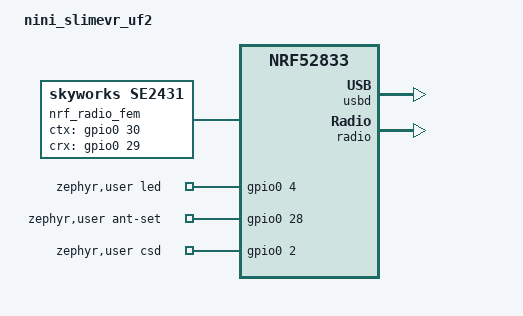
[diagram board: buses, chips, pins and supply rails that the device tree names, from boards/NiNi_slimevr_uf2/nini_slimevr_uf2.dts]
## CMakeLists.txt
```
#
# Copyright (c) 2018 Nordic Semiconductor
#
# SPDX-License-Identifier: LicenseRef-Nordic-5-Clause
#
cmake_minimum_required(VERSION 3.20.0)

# Configure build metadata from git (best-effort)
find_package(Git)

if(GIT_EXECUTABLE)
  execute_process(
    COMMAND ${GIT_EXECUTABLE} branch --show-current
    WORKING_DIRECTORY ${CMAKE_SOURCE_DIR}
    OUTPUT_VARIABLE GIT_BRANCH
    )
  # Prefer a https URL for display (falls back to 'unknown')
  execute_process(
    COMMAND ${GIT_EXECUTABLE} config --get remote.origin.url
    WORKING_DIRECTORY ${CMAKE_SOURCE_DIR}
    OUTPUT_VARIABLE GIT_REPO_URL_SSH
    )
  execute_process(
    COMMAND ${GIT_EXECUTABLE} config --get remote.origin.https.url
    WORKING_DIRECTORY ${CMAKE_SOURCE_DIR}
    OUTPUT_VARIABLE GIT_REPO_URL_HTTPS
    )
  execute_process(
    COMMAND ${GIT_EXECUTABLE} log -1 --pretty=%an
    WORKING_DIRECTORY ${CMAKE_SOURCE_DIR}
    OUTPUT_VARIABLE GIT_AUTHOR
    )
endif()

if(GIT_BRANCH STREQUAL "")
  set(GIT_BRANCH unknown)
  message(WARNING "Unknown Git Branch")
endif()
# Choose URL: origin.https.url > origin.url
if(NOT GIT_REPO_URL_HTTPS STREQUAL "")
  set(GIT_REPO_URL ${GIT_REPO_URL_HTTPS})
else()
  set(GIT_REPO_URL ${GIT_REPO_URL_SSH})
endif()

# Normalize GitHub SSH URLs to HTTPS for display in firmware info
if(GIT_REPO_URL MATCHES "^git@github\\.com:(.+)$")
  set(GIT_REPO_URL "https://github.com/${CMAKE_MATCH_1}")
elseif(GIT_REPO_URL MATCHES "^ssh://git@github\\.com/(.+)$")
  set(GIT_REPO_URL "https://github.com/${CMAKE_MATCH_1}")
endif()
string(REGEX REPLACE "\\.git$" "" GIT_REPO_URL "${GIT_REPO_URL}")

if(GIT_REPO_URL STREQUAL "")
  set(GIT_REPO_URL unknown)
  message(WARNING "Unknown Git Repo URL")
endif()
if(GIT_AUTHOR STREQUAL "")
  set(GIT_AUTHOR unknown)
  message(WARNING "Unknown Git Author")
endif()

string(STRIP ${GIT_BRANCH} GIT_BRANCH)
string(STRIP ${GIT_REPO_URL} GIT_REPO_URL)
string(STRIP ${GIT_AUTHOR} GIT_AUTHOR)

# Pass metadata to C compilation units
add_compile_definitions(
  FW_GIT_BRANCH="${GIT_BRANCH}"
  FW_GIT_REPO_URL="${GIT_REPO_URL}"
  FW_GIT_AUTHOR="${GIT_AUTHOR}"
)

set(SLIMEVR_RECEIVER_HID_OVERLAY ${CMAKE_CURRENT_SOURCE_DIR}/boards/receiver_hid.overlay)

if(DEFINED EXTRA_DTC_OVERLAY_FILE)
  set(EXTRA_DTC_OVERLAY_FILE ${SLIMEVR_RECEIVER_HID_OVERLAY} ${EXTRA_DTC_OVERLAY_FILE})
else()
  set(EXTRA_DTC_OVERLAY_FILE ${SLIMEVR_RECEIVER_HID_OVERLAY})
endif()

find_package(Zephyr REQUIRED HINTS $ENV{ZEPHYR_BASE})
project(NONE)

FILE(GLOB_RECURSE app_sources src/*.c)
# Data collection: choose HID or CDC implementation, or exclude both
if(CONFIG_DATA_COLLECT)
  if(CONFIG_DATA_COLLECT_HID)
    # HID mode: exclude CDC implementation
    list(FILTER app_sources EXCLUDE REGEX ".*data_collect\\.c$")
  else()
    # CDC mode: exclude HID implementation
    list(FILTER app_sources EXCLUDE REGEX ".*data_collect_hid\\.c$")
  endif()
else()
  # No data collection: exclude both
  list(FILTER app_sources EXCLUDE REGEX ".*data_collect.*\\.c$")
endif()
# NORDIC SDK APP START
target_sources(app PRIVATE ${app_sources})
# NORDIC SDK APP END

target_include_directories(app PRIVATE src)

# Force recompile for updated build timestamp
add_custom_target(touch_util_h ALL
    COMMAND ${CMAKE_COMMAND} -E touch ${CMAKE_SOURCE_DIR}/src/build_defines.h
)
```

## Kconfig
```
#
# Copyright (c) 2020 Nordic Semiconductor
#
# SPDX-License-Identifier: LicenseRef-Nordic-5-Clause
#

choice
	prompt "Status LED color mapping"
    default LED_TRI_COLOR

config LED_RGB_COLOR
    bool "Use RGB color mapping"
    help
        Use RGB or RG color mapping for LED status if available.

config LED_TRI_COLOR
    bool "Use default color mapping"
    help
        Use the default color mapping for LED status.

endchoice

menu "Status LED default status color"
    depends on LED_RGB_COLOR

config LED_DEFAULT_COLOR_R
    int "Red value"
    range 0 10000
    default 4000
    depends on LED_RGB_COLOR
    help
        Red color for default status.
        Valid range is 0 to 10000.

config LED_DEFAULT_COLOR_G
    int "Green value"
    range 0 10000
    default 6000
    depends on LED_RGB_COLOR
    help
        Green color for default status.
        Valid range is 0 to 10000.

config LED_DEFAULT_COLOR_B
    int "Blue value"
    range 0 10000
    default 0
    depends on LED_RGB_COLOR
    help
        Blue color for default status.
        Valid range is 0 to 10000.

endmenu

config RADIO_TX_POWER
    int "Radio output power (dBm)"
    default 30
    help
        Radio output power level.
        A lower value may reduce power consumption.

config RADIO_RF_CHANNEL
    int "Radio RF channel"
    default 2
    help
        Radio RF channel (0-100).
        Must match the receiver channel.

config RADIO_RETRANSMIT_DELAY
    int "Radio retransmit delay (µs)"
    default 600
    help
        Radio retransmit delay.

config PAIRING_TIMEOUT
    int "Pairing mode timeout (seconds)"
    default 300
    help
        Timeout for pairing mode in seconds.
        After this time, pairing mode will automatically exit.
        Default is 300 seconds (5 minutes).
        Set to 0 to disable timeout.

config DATA_COLLECT
    bool "Enable raw sensor data collection interface"
    default n
    help
        Enable streaming raw IMU and magnetometer data from trackers.
        Choose HID or CDC transport via DATA_COLLECT_HID.

config DATA_COLLECT_HID
    bool "Use HID endpoint for data collection (instead of CDC serial)"
    depends on DATA_COLLECT
    default y
    help
        When enabled, raw data is sent via a dedicated HID endpoint.
        When disabled, raw data is sent via a second CDC ACM serial port.

config SLIMEVR_USB_DEVICE_VID
    hex "SlimeVR USB vendor ID"
    default 0x1209
    help
        USB vendor ID used by the SlimeVR USBD_NEXT device.

config SLIMEVR_USB_DEVICE_PID
    hex "SlimeVR USB product ID"
    default 0x7690
    help
        USB product ID used by the SlimeVR receiver firmware.

config SLIMEVR_USB_DEVICE_MANUFACTURER
    string "SlimeVR USB manufacturer"
    default "SlimeVR"
    help
        USB manufacturer string and console banner prefix.

config SLIMEVR_USB_DEVICE_PRODUCT
    string "SlimeVR USB product"
    default "SlimeNRF Receiver"
    help
        USB product string and console banner name.

config SLIMEVR_USB_DEVICE_MAX_POWER
    int "SlimeVR USB max power"
    range 0 250
    default 100
    help
        USB bMaxPower value in 2 mA units.

menu "TDMA diagnostics"

config TDMA_DIAGNOSTICS
    bool "Compile in TDMA/RF phase diagnostics"
    default n
    help
        Per-tracker phase/RSSI histograms, sync bookkeeping counters
        (ping_rej, extrap_skip) and the console health snapshot.
        Disable for production builds: reclaims ~25 KB RAM and removes
        per-packet histogram work from the radio event path. TDMA
        scheduling and PING/PONG clock sync stay fully functional
        without this option; only the measurement instrumentation is
        removed at compile time.

endmenu

source "Kconfig.zephyr"
```

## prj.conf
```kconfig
#CONFIG_NCS_SAMPLES_DEFAULTS
CONFIG_ASSERT=y
CONFIG_ASSERT_NO_COND_INFO=y
CONFIG_ASSERT_NO_MSG_INFO=y
CONFIG_RESET_ON_FATAL_ERROR=y

CONFIG_NCS_APPLICATION_BOOT_BANNER_STRING="SlimeVR-Tracker-nRF-Receiver"
#CONFIG_NCS_BOOT_BANNER=n
CONFIG_BOOT_BANNER=n

# HEX carries mapped-partition addresses for native UF2 generation.
CONFIG_BUILD_OUTPUT_HEX=y

CONFIG_ESB=y
CONFIG_PICOLIBC=y
CONFIG_CBPRINTF_FP_SUPPORT=y

CONFIG_FPU=y

CONFIG_USB_DEVICE_STACK_NEXT=y
CONFIG_USBD_HID_SUPPORT=y
CONFIG_USBD_CDC_ACM_CLASS=y
CONFIG_CDC_ACM_SERIAL_INITIALIZE_AT_BOOT=n
CONFIG_SLIMEVR_USB_DEVICE_VID=0x1209
CONFIG_SLIMEVR_USB_DEVICE_PID=0x7690
CONFIG_UART_INTERRUPT_DRIVEN=y
#CONFIG_USB_WORKQUEUE_STACK_SIZE=512

CONFIG_SERIAL=y
CONFIG_CONSOLE=y
CONFIG_UART_CONSOLE=y
CONFIG_UART_LINE_CTRL=y

CONFIG_USE_SEGGER_RTT=y
CONFIG_LOG=y
#CONFIG_PRINTK=y
CONFIG_LOG_MODE_DEFERRED=y
CONFIG_LOG_SPEED=y
CONFIG_LOG_BACKEND_RTT=y
CONFIG_USBD_LOG_LEVEL_WRN=y
CONFIG_UDC_DRIVER_LOG_LEVEL_WRN=y
CONFIG_USBD_CDC_ACM_LOG_LEVEL_OFF=y
CONFIG_UDC_BUF_POOL_SIZE=4096
CONFIG_LOG_BUFFER_SIZE=4096
CONFIG_LOG_PROCESS_THREAD_SLEEP_MS=100
CONFIG_LOG_PROCESS_THREAD_STACK_SIZE=1024
CONFIG_LOG_PROCESS_THREAD_STARTUP_DELAY_MS=0

CONFIG_LOG_BACKEND_UART=y
CONFIG_LOG_BACKEND_UART_AUTOSTART=n
CONFIG_LOG_MODE_DEFERRED=y

CONFIG_CONSOLE_SUBSYS=y

CONFIG_NVS_LOG_LEVEL_WRN=y
CONFIG_USBD_HID_LOG_LEVEL_WRN=y

CONFIG_USBD_HID_IN_BUF_COUNT=4
CONFIG_USBD_HID_OUT_BUF_COUNT=4

CONFIG_GPIO=y
CONFIG_PWM=y

CONFIG_NVS=y

CONFIG_FLASH=y
CONFIG_FLASH_PAGE_LAYOUT=y
CONFIG_FLASH_MAP=y
CONFIG_USE_DT_CODE_PARTITION=y

CONFIG_SETTINGS=y
CONFIG_SETTINGS_NVS=y
CONFIG_SETTINGS_RUNTIME=y
CONFIG_SETTINGS_NONE=y

CONFIG_MPU_ALLOW_FLASH_WRITE=y

CONFIG_NVS_LOOKUP_CACHE=y

CONFIG_ESB_MAX_PAYLOAD_LENGTH=72
CONFIG_ESB_TX_FIFO_SIZE=16
CONFIG_ESB_RX_FIFO_SIZE=16
# CONFIG_NRFX_TIMER1=y

#speed up boot? (use internal rc oscillator)
#CONFIG_CLOCK_CONTROL_NRF_K32SRC_RC=y
#speed up boot? (synthesize lf clock)
CONFIG_CLOCK_CONTROL_NRF_K32SRC_SYNTH=y

# dont need it
CONFIG_CRYPTO=n

CONFIG_THREAD_NAME=y
CONFIG_SYSTEM_WORKQUEUE_STACK_SIZE=1024
CONFIG_MAIN_STACK_SIZE=2048

#CONFIG_HEAP_MEM_POOL_SIZE=2048
CONFIG_ISR_STACK_SIZE=1024

CONFIG_RADIO_RF_CHANNEL=84
CONFIG_RADIO_RETRANSMIT_DELAY=310
CONFIG_RADIO_TX_POWER=30

CONFIG_LTO=y
CONFIG_ISR_TABLES_LOCAL_DECLARATION=y
```

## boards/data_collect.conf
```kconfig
# Enable raw sensor data collection interface
CONFIG_DATA_COLLECT=y
# Use HID endpoint (set to n for CDC serial mode)
CONFIG_DATA_COLLECT_HID=y
```

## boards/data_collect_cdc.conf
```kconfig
# Enable raw sensor data collection via CDC serial port
CONFIG_DATA_COLLECT=y
CONFIG_DATA_COLLECT_HID=n
```

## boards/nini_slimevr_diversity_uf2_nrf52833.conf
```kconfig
# Copyright (c) 2024 Nordic Semiconductor ASA
# SPDX-License-Identifier: Apache-2.0

CONFIG_USB_DEVICE_MANUFACTURER="NiNi"
CONFIG_USB_DEVICE_PRODUCT="SlimeNRF Receiver NiNi"

CONFIG_MPSL=y
CONFIG_MPSL_FEM=y
CONFIG_MPSL_FEM_SIMPLE_GPIO=y
CONFIG_MPSL_FEM_GENERIC_TWO_CTRL_PINS_SUPPORT=y
```

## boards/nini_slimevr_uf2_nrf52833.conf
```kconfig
# Copyright (c) 2024 Nordic Semiconductor ASA
# SPDX-License-Identifier: Apache-2.0

CONFIG_USB_DEVICE_MANUFACTURER="NiNi"
CONFIG_USB_DEVICE_PRODUCT="SlimeNRF Receiver NiNi"

CONFIG_MPSL=y
CONFIG_MPSL_FEM=y
CONFIG_MPSL_FEM_SIMPLE_GPIO=y
CONFIG_MPSL_FEM_GENERIC_TWO_CTRL_PINS_SUPPORT=y
CONFIG_LED_STRIP=y
CONFIG_WS2812_STRIP=y
```

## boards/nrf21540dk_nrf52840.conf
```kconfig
CONFIG_SLIMEVR_USB_DEVICE_MANUFACTURER="Nordic Semiconductor"
CONFIG_SLIMEVR_USB_DEVICE_PRODUCT="SlimeNRF Receiver nRF21540 DK"
```

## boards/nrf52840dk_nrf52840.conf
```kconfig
CONFIG_SLIMEVR_USB_DEVICE_MANUFACTURER="Nordic Semiconductor"
CONFIG_SLIMEVR_USB_DEVICE_PRODUCT="SlimeNRF Receiver nRF52840 DK"
```

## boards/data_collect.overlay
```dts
/ {
	hid_dev_1: hid_dev_1 {
		compatible = "zephyr,hid-device";
		protocol-code = "none";
		in-report-size = <64>;
		in-polling-period-us = <1000>;
	};
};
```

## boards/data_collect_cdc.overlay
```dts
&zephyr_udc0 {
	cdc_acm_uart1: cdc_acm_uart1 {
		compatible = "zephyr,cdc-acm-uart";
		label = "SlimeNRF Raw Data CDC";
		tx-fifo-size = <4096>;
		rx-fifo-size = <64>;
	};
};
```

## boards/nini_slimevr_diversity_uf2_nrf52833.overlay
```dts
// Copyright (c) 2024 Nordic Semiconductor ASA
// SPDX-License-Identifier: Apache-2.0

/ {
	chosen {
		zephyr,console = &cdc_acm_uart0;
		zephyr,shell-uart = &cdc_acm_uart0;
	};
};

zephyr_udc0: &usbd {
	cdc_acm_uart0: cdc_acm_uart0 {
		compatible = "zephyr,cdc-acm-uart";
	};
};

&radio {
	fem = <&nrf_radio_fem>;
};
```

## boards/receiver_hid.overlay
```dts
/ {
	hid_dev_0: hid_dev_0 {
		compatible = "zephyr,hid-device";
		protocol-code = "none";
		in-report-size = <64>;
		in-polling-period-us = <1000>;
		out-report-size = <64>;
		out-polling-period-us = <1000>;
	};
};
```

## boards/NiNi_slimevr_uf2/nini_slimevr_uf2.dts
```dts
// Copyright (c) 2024 Nordic Semiconductor ASA
// SPDX-License-Identifier: Apache-2.0

/dts-v1/;
#include <nordic/nrf52833_qdaa.dtsi>

/ {
	model = "nini_slimevr_uf2";
	compatible = "nini_slimevr_uf2";

	chosen {
		zephyr,sram = &sram0;
		zephyr,flash = &flash0;
		zephyr,console = &cdc_acm_uart0;
		zephyr,shell-uart = &cdc_acm_uart0;
	};

	nrf_radio_fem: se2431_fem {
		compatible = "skyworks,se2431", "generic-fem-two-ctrl-pins";
		ctx-gpios = <&gpio0 30 GPIO_ACTIVE_HIGH>;  /* TXEN */
		ctx-settle-time-us = <23>;
		crx-gpios = <&gpio0 29 GPIO_ACTIVE_HIGH>;  /* RXEN */
		crx-settle-time-us = <8>;
		tx-gain-db = <20>;
		rx-gain-db = <12>;
	};


	zephyr,user {
		led-gpios = <&gpio0 4 GPIO_OPEN_SOURCE>;
		ant-set-gpios = <&gpio0 28 GPIO_ACTIVE_HIGH>;
		csd-gpios = <&gpio0 2 GPIO_ACTIVE_HIGH>;
	};
};

&reg1 {
	regulator-initial-mode = <NRF5X_REG_MODE_DCDC>;
};

&gpio0 {
	status = "okay";
};

&gpiote {
	status = "okay";
};


zephyr_udc0: &usbd {
	compatible = "nordic,nrf-usbd";
	status = "okay";
	cdc_acm_uart0: cdc_acm_uart0 {
		compatible = "zephyr,cdc-acm-uart";
	};
};

&nfct {
	status = "disabled";
};

&radio {
	fem = <&nrf_radio_fem>;
};
```

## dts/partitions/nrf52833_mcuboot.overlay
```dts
/ {
	chosen {
		zephyr,code-partition = &slot0_partition;
	};
};

&flash0 {
	/delete-node/ partitions;

	partitions {
		ranges;
		#address-cells = <1>;
		#size-cells = <1>;

		boot_partition: partition@0 {
			compatible = "zephyr,mapped-partition";
			label = "mcuboot";
			reg = <0x00000000 0x0000c000>;
		};

		slot0_partition: partition@c000 {
			compatible = "zephyr,mapped-partition";
			label = "image-0";
			reg = <0x0000c000 0x00031000>;
		};

		slot1_partition: partition@3d000 {
			compatible = "zephyr,mapped-partition";
			label = "image-1";
			reg = <0x0003d000 0x00031000>;
		};

		storage_partition: partition@6e000 {
			compatible = "zephyr,mapped-partition";
			label = "storage";
			reg = <0x0006e000 0x00006000>;
		};

		reserved_top_partition: partition@74000 {
			compatible = "zephyr,mapped-partition";
			label = "reserved-legacy-uf2";
			read-only;
			reg = <0x00074000 0x0000c000>;
		};
	};
};
```

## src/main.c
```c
/*
	SlimeVR Code is placed under the MIT license
	Copyright (c) 2025 SlimeVR Contributors

	Permission is hereby granted, free of charge, to any person obtaining a copy
	of this software and associated documentation files (the "Software"), to deal
	in the Software without restriction, including without limitation the rights
	to use, copy, modify, merge, publish, distribute, sublicense, and/or sell
	copies of the Software, and to permit persons to whom the Software is
	furnished to do so, subject to the following conditions:

	The above copyright notice and this permission notice shall be included in
	all copies or substantial portions of the Software.

	THE SOFTWARE IS PROVIDED "AS IS", WITHOUT WARRANTY OF ANY KIND, EXPRESS OR
	IMPLIED, INCLUDING BUT NOT LIMITED TO THE WARRANTIES OF MERCHANTABILITY,
	FITNESS FOR A PARTICULAR PURPOSE AND NONINFRINGEMENT. IN NO EVENT SHALL THE
	AUTHORS OR COPYRIGHT HOLDERS BE LIABLE FOR ANY CLAIM, DAMAGES OR OTHER
	LIABILITY, WHETHER IN AN ACTION OF CONTRACT, TORT OR OTHERWISE, ARISING FROM,
	OUT OF OR IN CONNECTION WITH THE SOFTWARE OR THE USE OR OTHER DEALINGS IN
	THE SOFTWARE.
*/
#include "globals.h"
#include "system/system.h"
#include "system/led.h"
#include "system/status.h"
#include "system/antenna.h"
#include "connection/esb.h"

#include <zephyr/kernel.h>
#include <zephyr/sys/reboot.h>
#if defined(CONFIG_BOOTLOADER_MCUBOOT)
#include <zephyr/dfu/mcuboot.h>
#endif

LOG_MODULE_REGISTER(main, LOG_LEVEL_INF);

#if defined(CONFIG_BOOTLOADER_MCUBOOT)
static void mcuboot_confirm_thread(void)
{
	k_sleep(K_SECONDS(60));
	if (!boot_is_img_confirmed()) {
		int err = boot_write_img_confirmed();
		if (err) {
			LOG_ERR("Failed to confirm MCUboot image: %d", err);
		} else {
			LOG_INF("MCUboot test image confirmed");
		}
	}
}

K_THREAD_DEFINE(mcuboot_confirm_thread_id, 512, mcuboot_confirm_thread,
		NULL, NULL, NULL, 10, 0, 0);
#endif

int main(void)
{
	// Initialize LED system first
	set_led(SYS_LED_PATTERN_ACTIVE_PERSIST, SYS_LED_PRIORITY_SYSTEM);

	// Initialize antenna diversity control
	antenna_init();

	// Boot sequence with button detection
	set_led(SYS_LED_PATTERN_ON, SYS_LED_PRIORITY_BOOT);

	uint8_t reboot_counter = reboot_counter_read();
	bool booting_from_shutdown = !reboot_counter;

	// Check if button is pressed during boot
	if (button_read())
	{
		LOG_INF("Button detected during boot");
		int64_t boot_start = k_uptime_get();

		while (button_read())
		{
			if (k_uptime_get() - boot_start > 1000)
				set_led(SYS_LED_PATTERN_LONG, SYS_LED_PRIORITY_HIGHEST);
			if (k_uptime_get() - boot_start > 5000)
			{
				LOG_INF("Boot-time pairing reset requested");
				esb_clear();
				break;
			}
			k_msleep(10);
		}

		if (k_uptime_get() - boot_start > 5000)
			set_led(SYS_LED_PATTERN_ONESHOT_COMPLETE, SYS_LED_PRIORITY_HIGHEST);
		else if (k_uptime_get() - boot_start > 50) // Short press during boot
			set_led(SYS_LED_PATTERN_ONESHOT_POWERON, SYS_LED_PRIORITY_HIGHEST);
	}
	else if (booting_from_shutdown)
	{
		set_led(SYS_LED_PATTERN_ONESHOT_POWERON, SYS_LED_PRIORITY_BOOT);
	}

	// Clear boot LED priority
	set_led(SYS_LED_PATTERN_OFF, SYS_LED_PRIORITY_BOOT);

	return 0;
}
```

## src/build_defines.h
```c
/*
	SlimeVR Code is placed under the MIT license
	Copyright (c) 2025 SlimeVR Contributors

	Permission is hereby granted, free of charge, to any person obtaining a copy
	of this software and associated documentation files (the "Software"), to deal
	in the Software without restriction, including without limitation the rights
	to use, copy, modify, merge, publish, distribute, sublicense, and/or sell
	copies of the Software, and to permit persons to whom the Software is
	furnished to do so, subject to the following conditions:

	The above copyright notice and this permission notice shall be included in
	all copies or substantial portions of the Software.

	THE SOFTWARE IS PROVIDED "AS IS", WITHOUT WARRANTY OF ANY KIND, EXPRESS OR
	IMPLIED, INCLUDING BUT NOT LIMITED TO THE WARRANTIES OF MERCHANTABILITY,
	FITNESS FOR A PARTICULAR PURPOSE AND NONINFRINGEMENT. IN NO EVENT SHALL THE
	AUTHORS OR COPYRIGHT HOLDERS BE LIABLE FOR ANY CLAIM, DAMAGES OR OTHER
	LIABILITY, WHETHER IN AN ACTION OF CONTRACT, TORT OR OTHERWISE, ARISING FROM,
	OUT OF OR IN CONNECTION WITH THE SOFTWARE OR THE USE OR OTHER DEALINGS IN
	THE SOFTWARE.
*/
#include "app_version.h"

#define FW_NAME CONFIG_NCS_APPLICATION_BOOT_BANNER_STRING
#define FW_VERSION_MAJOR APP_VERSION_MAJOR
#define FW_VERSION_MINOR APP_VERSION_MINOR
#define FW_VERSION_PATCH APP_PATCHLEVEL

// Build-time VCS metadata (injected by CMake). Keep safe fallbacks for non-git builds.
#ifndef FW_GIT_REPO_URL
#define FW_GIT_REPO_URL "unknown"
#endif
#ifndef FW_GIT_BRANCH
#define FW_GIT_BRANCH "unknown"
#endif
#ifndef FW_GIT_AUTHOR
#define FW_GIT_AUTHOR "unknown"
#endif

// https://stackoverflow.com/questions/11697820/how-to-use-date-and-time-predefined-macros-in-as-two-integers-then-stri
#define COMPUTE_BUILD_YEAR \
	( \
		(__DATE__[ 7] - '0') * 1000 + \
		(__DATE__[ 8] - '0') *  100 + \
		(__DATE__[ 9] - '0') *   10 + \
		(__DATE__[10] - '0') \
	)

#define COMPUTE_BUILD_DAY \
	( \
		((__DATE__[4] >= '0') ? (__DATE__[4] - '0') * 10 : 0) + \
		(__DATE__[5] - '0') \
	)

#define BUILD_MONTH_IS_JAN (__DATE__[0] == 'J' && __DATE__[1] == 'a' && __DATE__[2] == 'n')
#define BUILD_MONTH_IS_FEB (__DATE__[0] == 'F')
#define BUILD_MONTH_IS_MAR (__DATE__[0] == 'M' && __DATE__[1] == 'a' && __DATE__[2] == 'r')
#define BUILD_MONTH_IS_APR (__DATE__[0] == 'A' && __DATE__[1] == 'p')
#define BUILD_MONTH_IS_MAY (__DATE__[0] == 'M' && __DATE__[1] == 'a' && __DATE__[2] == 'y')
#define BUILD_MONTH_IS_JUN (__DATE__[0] == 'J' && __DATE__[1] == 'u' && __DATE__[2] == 'n')
#define BUILD_MONTH_IS_JUL (__DATE__[0] == 'J' && __DATE__[1] == 'u' && __DATE__[2] == 'l')
#define BUILD_MONTH_IS_AUG (__DATE__[0] == 'A' && __DATE__[1] == 'u')
#define BUILD_MONTH_IS_SEP (__DATE__[0] == 'S')
#define BUILD_MONTH_IS_OCT (__DATE__[0] == 'O')
#define BUILD_MONTH_IS_NOV (__DATE__[0] == 'N')
#define BUILD_MONTH_IS_DEC (__DATE__[0] == 'D')

#define COMPUTE_BUILD_MONTH \
	( \
		(BUILD_MONTH_IS_JAN) ?  1 : \
		(BUILD_MONTH_IS_FEB) ?  2 : \
		(BUILD_MONTH_IS_MAR) ?  3 : \
		(BUILD_MONTH_IS_APR) ?  4 : \
		(BUILD_MONTH_IS_MAY) ?  5 : \
		(BUILD_MONTH_IS_JUN) ?  6 : \
		(BUILD_MONTH_IS_JUL) ?  7 : \
		(BUILD_MONTH_IS_AUG) ?  8 : \
		(BUILD_MONTH_IS_SEP) ?  9 : \
		(BUILD_MONTH_IS_OCT) ? 10 : \
		(BUILD_MONTH_IS_NOV) ? 11 : \
		(BUILD_MONTH_IS_DEC) ? 12 : \
		/* error default */  99 \
	)

#define COMPUTE_BUILD_HOUR ((__TIME__[0] - '0') * 10 + __TIME__[1] - '0')
#define COMPUTE_BUILD_MIN  ((__TIME__[3] - '0') * 10 + __TIME__[4] - '0')
#define COMPUTE_BUILD_SEC  ((__TIME__[6] - '0') * 10 + __TIME__[7] - '0')

#define BUILD_DATE_IS_BAD (__DATE__[0] == '?')

#define BUILD_YEAR  ((BUILD_DATE_IS_BAD) ? 99 : COMPUTE_BUILD_YEAR)
#define BUILD_MONTH ((BUILD_DATE_IS_BAD) ? 99 : COMPUTE_BUILD_MONTH)
#define BUILD_DAY   ((BUILD_DATE_IS_BAD) ? 99 : COMPUTE_BUILD_DAY)

#define BUILD_TIME_IS_BAD (__TIME__[0] == '?')

#define BUILD_HOUR  ((BUILD_TIME_IS_BAD) ? 99 :  COMPUTE_BUILD_HOUR)
#define BUILD_MIN   ((BUILD_TIME_IS_BAD) ? 99 :  COMPUTE_BUILD_MIN)
#define BUILD_SEC   ((BUILD_TIME_IS_BAD) ? 99 :  COMPUTE_BUILD_SEC)

#define TOSTRING(x) STRINGIFY(x)

#define FW_STRING FW_NAME " " APP_VERSION_EXTENDED_STRING " "\
	"(Commit " TOSTRING(APP_BUILD_VERSION) ", Build %d-%02d-%02d %02d:%02d:%02d)\n",\
	BUILD_YEAR, BUILD_MONTH, BUILD_DAY, BUILD_HOUR, BUILD_MIN, BUILD_SEC
```

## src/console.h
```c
#ifndef SLIMENRF_RECEIVER_CONSOLE_H
#define SLIMENRF_RECEIVER_CONSOLE_H

void console_serial_start(void);
/* DTR close: discard incomplete input, retaining accepted complete commands. */
void console_serial_close(void);
/* USB teardown: also invalidate queued and dequeued commands not yet admitted. */
void console_serial_stop(void);

#endif
```

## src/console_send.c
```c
/*
	SlimeVR Code is placed under the MIT license
	Copyright (c) 2025 SlimeVR Contributors

	Permission is hereby granted, free of charge, to any person obtaining a copy
	of this software and associated documentation files (the "Software"), to deal
	in the Software without restriction, including without limitation the rights
	to use, copy, modify, merge, publish, distribute, sublicense, and/or sell
	copies of the Software, and to permit persons to whom the Software is
	furnished to do so, subject to the following conditions:

	The above copyright notice and this permission notice shall be included in
	all copies or substantial portions of the Software.

	THE SOFTWARE IS PROVIDED "AS IS", WITHOUT WARRANTY OF ANY KIND, EXPRESS OR
	IMPLIED, INCLUDING BUT NOT LIMITED TO THE WARRANTIES OF MERCHANTABILITY,
	FITNESS FOR A PARTICULAR PURPOSE AND NONINFRINGEMENT. IN NO EVENT SHALL THE
	AUTHORS OR COPYRIGHT HOLDERS BE LIABLE FOR ANY CLAIM, DAMAGES OR OTHER
	LIABILITY, WHETHER IN AN ACTION OF CONTRACT, TORT OR OTHERWISE, ARISING FROM,
	OUT OF OR IN CONNECTION WITH THE SOFTWARE OR THE USE OR OTHER DEALINGS IN
	THE SOFTWARE.
*/
#include "console_send.h"

#include "rcv_cmd.h"

#include <stdlib.h>
#include <string.h>
#include <zephyr/sys/printk.h>

#define SENS_AUTO_MAX_REVOLUTIONS 100

static void console_send_flag(bool target_all, uint8_t tracker_id, uint8_t flag, const char *name)
{
	uint8_t tid = target_all ? RCV_HID_TARGET_ALL : tracker_id;
	uint8_t st = rcv_cmd_remote_flag(tid, flag);
	if (st == RCV_HID_ST_QUEUED) {
		if (target_all) {
			printk("%s request sent to all active trackers\n", name);
		} else {
			printk("%s request sent to tracker %d\n", name, tracker_id);
		}
	} else {
		printk("%s failed: status %u\n", name, st);
	}
}

void console_handle_send(char *arg, char *arg2, char *arg3, char *arg4, char *arg5)
{
	if (!arg || !arg2) {
		printk("Usage: send <id|all> <command>\n");
		printk("Examples:\n");
		printk("  send 0 shutdown      - Shutdown tracker 0\n");
		printk("  send all shutdown    - Shutdown all active trackers\n");
		printk("  send 1 calibrate     - Calibrate tracker 1\n");
		printk("  send all meow        - Make all active trackers meow\n");
		printk("  send 2 reboot        - Reboot tracker 2\n");
		printk("  send 3 clear         - Clear pairing on tracker 3\n");
		printk("  send all dfu         - Enter DFU mode on all active trackers\n");
		printk(
			"Available commands: shutdown, calibrate, 6-side, meow, scan, mag, reboot, clear, dfu, sens, "
			"reset, ping, tcal, tdma, test\n"
		);
		return;
	}

	bool target_all = (strcmp(arg, "all") == 0);
	uint8_t tracker_id = 0;

	if (!target_all) {
		char *endptr;
		long id = strtol(arg, &endptr, 10);

		if (*endptr != '\0' || id < 0 || id > 255) {
			printk("Invalid tracker ID. Use a number (0-255) or 'all'\n");
			return;
		}
		tracker_id = (uint8_t)id;
	}

	uint8_t cmd_flag = 0xFF;
	const char *cmd_name = NULL;

	if (strcmp(arg2, "shutdown") == 0) {
		cmd_flag = ESB_PONG_FLAG_SHUTDOWN;
		cmd_name = "Shutdown";
	} else if (strcmp(arg2, "calibrate") == 0) {
		cmd_flag = ESB_PONG_FLAG_CALIBRATE;
		cmd_name = "Calibrate";
	} else if (strcmp(arg2, "6-side") == 0) {
		cmd_flag = ESB_PONG_FLAG_SIX_SIDE_CAL;
		cmd_name = "6-side calibration";
	} else if (strcmp(arg2, "meow") == 0) {
		cmd_flag = ESB_PONG_FLAG_MEOW;
		cmd_name = "Meow";
	} else if (strcmp(arg2, "scan") == 0) {
		cmd_flag = ESB_PONG_FLAG_SCAN;
		cmd_name = "Sensor scan";
	} else if (strcmp(arg2, "mag") == 0) {
		if (!arg3) {
			printk("Usage: send <id|all> mag <on|off|clear|cal|auto on|auto off>\n");
			printk("  on       - Enable magnetometer\n");
			printk("  off      - Disable magnetometer\n");
			printk("  clear    - Clear magnetometer calibration\n");
			printk("  cal      - Start magnetometer calibration\n");
			printk("  auto on  - Enable online magnetometer calibration\n");
			printk("  auto off - Disable online magnetometer calibration\n");
			return;
		}

		uint8_t mag_cmd = 0xFF;
		const char *mag_name = NULL;

		if (strcmp(arg3, "on") == 0) {
			mag_cmd = ESB_PONG_FLAG_MAG_ON;
			mag_name = "Magnetometer enable";
		} else if (strcmp(arg3, "off") == 0) {
			mag_cmd = ESB_PONG_FLAG_MAG_OFF;
			mag_name = "Magnetometer disable";
		} else if (strcmp(arg3, "clear") == 0) {
			mag_cmd = ESB_PONG_FLAG_MAG_CLEAR;
			mag_name = "Magnetometer calibration clear";
		} else if (strcmp(arg3, "cal") == 0 || strcmp(arg3, "calibrate") == 0) {
			mag_cmd = ESB_PONG_FLAG_MAG_CAL;
			mag_name = "Magnetometer calibration";
		} else if (strcmp(arg3, "auto") == 0 || strcmp(arg3, "online") == 0) {
			if (!arg4) {
				printk("Usage: send <id|all> mag %s <on|off>\n", arg3);
				return;
			}
			if (strcmp(arg4, "on") == 0) {
				mag_cmd = ESB_PONG_FLAG_MAG_AUTO_ON;
				mag_name = "Online magnetometer calibration enable";
			} else if (strcmp(arg4, "off") == 0) {
				mag_cmd = ESB_PONG_FLAG_MAG_AUTO_OFF;
				mag_name = "Online magnetometer calibration disable";
			} else {
				printk("Invalid mag %s argument: %s (use 'on' or 'off')\n", arg3, arg4);
				return;
			}
		} else {
			printk("Unknown mag subcommand: %s (use 'on', 'off', 'clear', 'cal' or 'auto')\n", arg3);
			return;
		}

		console_send_flag(target_all, tracker_id, mag_cmd, mag_name);
		return;
	} else if (strcmp(arg2, "reboot") == 0) {
		cmd_flag = ESB_PONG_FLAG_REBOOT;
		cmd_name = "Reboot";
	} else if (strcmp(arg2, "clear") == 0) {
		cmd_flag = ESB_PONG_FLAG_CLEAR;
		cmd_name = "Clear pairing";
	} else if (strcmp(arg2, "dfu") == 0) {
		if (arg3 && strcmp(arg3, "ota") == 0) {
			cmd_flag = ESB_PONG_FLAG_DFU_OTA;
			cmd_name = "OTA DFU mode";
		} else if (!arg3) {
			cmd_flag = ESB_PONG_FLAG_DFU;
			cmd_name = "UF2 DFU mode";
		} else {
			printk("Unknown dfu subcommand: %s (use 'ota' or omit it)\n", arg3);
			return;
		}
	} else if (strcmp(arg2, "fusion") == 0) {
		cmd_flag = ESB_PONG_FLAG_FUSION_RESET;
		cmd_name = "Fusion reset";
	} else if (strcmp(arg2, "channel") == 0) {
		if (!arg3) {
			printk("Usage: send all channel <0-100>\n");
			printk("Example: send all channel 25 - Set all active trackers to channel 25\n");
			return;
		}

		char *endptr;
		long channel = strtol(arg3, &endptr, 10);

		if (*endptr != '\0' || channel < 0 || channel > 100) {
			printk("Invalid channel. Must be a number between 0 and 100.\n");
			return;
		}

		if (!target_all) {
			printk("Channel command only supports 'all' target\n");
			return;
		}

		uint8_t st = rcv_cmd_tracker_channel_all((uint8_t)channel);
		if (st == RCV_HID_ST_STARTED || st == RCV_HID_ST_OK) {
			printk("Setting RF channel to %d for all active trackers and receiver\n", (int)channel);
		}
		return;
	} else if (strcmp(arg2, "clearchannel") == 0) {
		if (!target_all) {
			printk("Clearchannel command only supports 'all' target\n");
			return;
		}

		uint8_t st = rcv_cmd_tracker_channel_clear_all();
		if (st == RCV_HID_ST_STARTED || st == RCV_HID_ST_OK) {
			printk("Clearing RF channel for all active trackers and receiver\n");
		}
		return;
	} else if (strcmp(arg2, "sens") == 0) {
		if (!arg3) {
			printk("Usage: send <id|all> sens <x>,<y>,<z>\n");
			printk("Usage: send <id|all> sens reset\n");
			printk("Usage: send <id|all> sens auto <x|y|z> [revolutions]\n");
			printk("Example: send 0 sens 1.0,1.0,1.0\n");
			printk("Example: send all sens reset\n");
			printk("Example: send 0 sens auto z 5\n");
			return;
		}

		if (strcmp(arg3, "reset") == 0) {
			console_send_flag(target_all, tracker_id, ESB_PONG_FLAG_SENS_RESET, "Sens reset");
		} else if (strcmp(arg3, "auto") == 0) {
			if (!arg4 || arg4[0] == '\0') {
				printk("Usage: send <id|all> sens auto <x|y|z> [revolutions]\n");
				return;
			}

			if (arg4[1] != '\0') {
				printk("Usage: send <id|all> sens auto <x|y|z> [revolutions]\n");
				return;
			}

			uint8_t axis;
			if (arg4[0] == 'x') {
				axis = 0;
			} else if (arg4[0] == 'y') {
				axis = 1;
			} else if (arg4[0] == 'z') {
				axis = 2;
			} else {
				printk("Invalid axis '%s'. Use x, y, or z.\n", arg4);
				return;
			}

			uint16_t revolutions = 0;
			if (arg5 && *arg5) {
				char *endptr;
				long value = strtol(arg5, &endptr, 10);
				if (*endptr != '\0' || value < 1 || value > SENS_AUTO_MAX_REVOLUTIONS) {
					printk("Invalid revolutions '%s'. Use 1 to %u.\n", arg5, SENS_AUTO_MAX_REVOLUTIONS);
					return;
				}
				revolutions = (uint16_t)value;
			}

			uint8_t tid = target_all ? RCV_HID_TARGET_ALL : tracker_id;
			uint8_t st = rcv_cmd_remote_sens_auto(tid, axis, revolutions);
			if (st == RCV_HID_ST_QUEUED) {
				if (target_all) {
					if (revolutions == 0) {
						printk(
							"Sens auto request sent to all active trackers on %c axis using tracker "
							"default rev\n",
							'x' + axis
						);
					} else {
						printk(
							"Sens auto request sent to all active trackers on %c axis for %u rev\n",
							'x' + axis,
							revolutions
						);
					}
				} else if (revolutions == 0) {
					printk(
						"Sens auto request sent to tracker %d on %c axis using tracker default rev\n",
						tracker_id,
						'x' + axis
					);
				} else {
					printk(
						"Sens auto request sent to tracker %d on %c axis for %u rev\n",
						tracker_id,
						'x' + axis,
						revolutions
					);
				}
			} else if (!target_all) {
				printk("Sens auto request not queued: tracker %d is not active or invalid\n", tracker_id);
			}
		} else {
			char *token;
			char *endptr;
			int token_count = 0;
			float values[3];

			token = strtok(arg3, ",");
			while (token != NULL && token_count < 3) {
				values[token_count] = strtof(token, &endptr);
				if (token == endptr || *endptr != '\0') {
					printk("Invalid float value: %s\n", token);
					break;
				}
				token_count++;
				token = strtok(NULL, ",");
			}

			if (token_count == 3) {
				uint8_t tid = target_all ? RCV_HID_TARGET_ALL : tracker_id;
				if (rcv_cmd_remote_sens_set(tid, values[0], values[1], values[2]) == RCV_HID_ST_QUEUED) {
					if (target_all) {
						printk(
							"Sens set (%.2f,%.2f,%.2f) request sent to all active trackers\n",
							(double)values[0],
							(double)values[1],
							(double)values[2]
						);
					} else {
						printk(
							"Sens set (%.2f,%.2f,%.2f) request sent to tracker %d\n",
							(double)values[0],
							(double)values[1],
							(double)values[2],
							tracker_id
						);
					}
				}
			} else {
				printk("Error: Invalid format. Use: sens <x>,<y>,<z> or sens reset\n");
				printk("Example: sens 10.5,-2.1,15.0\n");
			}
		}
		return;
	} else if (strcmp(arg2, "reset") == 0) {
		if (!arg3) {
			printk("Usage: send <id|all> reset <zro|acc|bat|mag|tcal|fusion>\n");
			printk("Example: send 0 reset zro\n");
			printk("Example: send all reset acc\n");
			return;
		}

		uint8_t reset_cmd = 0xFF;
		const char *reset_name = NULL;

		if (strcmp(arg3, "zro") == 0) {
			reset_cmd = ESB_PONG_FLAG_RESET_ZRO;
			reset_name = "ZRO reset";
		} else if (strcmp(arg3, "acc") == 0) {
			reset_cmd = ESB_PONG_FLAG_RESET_ACC;
			reset_name = "Accelerometer reset";
		} else if (strcmp(arg3, "bat") == 0) {
			reset_cmd = ESB_PONG_FLAG_RESET_BAT;
			reset_name = "Battery reset";
		} else if (strcmp(arg3, "mag") == 0) {
			reset_cmd = ESB_PONG_FLAG_MAG_CLEAR;
			reset_name = "Magnetometer calibration reset";
		} else if (strcmp(arg3, "tcal") == 0) {
			reset_cmd = ESB_PONG_FLAG_RESET_TCAL;
			reset_name = "Temperature calibration reset";
		} else if (strcmp(arg3, "fusion") == 0) {
			reset_cmd = ESB_PONG_FLAG_FUSION_RESET;
			reset_name = "Fusion reset";
		} else {
			printk("Unknown reset command: %s\n", arg3);
			printk("Available: zro, acc, bat, mag, tcal, fusion\n");
			return;
		}

		console_send_flag(target_all, tracker_id, reset_cmd, reset_name);
		return;
	} else if (strcmp(arg2, "ping") == 0) {
		console_send_flag(target_all, tracker_id, ESB_PONG_FLAG_PING, "Ping");
		return;
	} else if (strcmp(arg2, "tcal") == 0) {
		if (!arg3) {
			printk("Usage: send <id|all> tcal <on|off|auto on|auto off|boot on|boot off|clear>\n");
			printk("Example: send 0 tcal on       - Enable temperature calibration on tracker 0\n");
			printk(
				"Example: send all tcal off    - Disable temperature calibration on all active trackers\n"
			);
			printk("Example: send 0 tcal auto on  - Enable auto-calibration on tracker 0\n");
			printk("Example: send all tcal auto off - Disable auto-calibration on all active trackers\n");
			printk("Example: send 0 tcal boot on - Enable boot calibration on tracker 0\n");
			printk("Example: send 0 tcal clear - Clear temperature calibration on tracker 0\n");
			return;
		}

		if (strcmp(arg3, "on") == 0) {
			console_send_flag(target_all, tracker_id, ESB_PONG_FLAG_TCAL_ON, "T-Cal enable");
		} else if (strcmp(arg3, "off") == 0) {
			console_send_flag(target_all, tracker_id, ESB_PONG_FLAG_TCAL_OFF, "T-Cal disable");
		} else if (strcmp(arg3, "auto") == 0) {
			if (!arg4) {
				printk("Usage: send <id|all> tcal auto <on|off>\n");
				return;
			}

			uint8_t tcal_cmd = 0xFF;
			const char *tcal_name = NULL;

			if (strcmp(arg4, "on") == 0) {
				tcal_cmd = ESB_PONG_FLAG_TCAL_AUTO_ON;
				tcal_name = "T-Cal auto-calibration enable";
			} else if (strcmp(arg4, "off") == 0) {
				tcal_cmd = ESB_PONG_FLAG_TCAL_AUTO_OFF;
				tcal_name = "T-Cal auto-calibration disable";
			} else {
				printk("Invalid tcal auto argument: %s (use 'on' or 'off')\n", arg4);
				return;
			}

			console_send_flag(target_all, tracker_id, tcal_cmd, tcal_name);
		} else if (strcmp(arg3, "clear") == 0) {
			console_send_flag(target_all, tracker_id, ESB_PONG_FLAG_RESET_TCAL, "T-Cal clear");
		} else if (strcmp(arg3, "boot") == 0) {
			if (!arg4) {
				printk("Usage: send <id|all> tcal boot <on|off>\n");
				return;
			}

			uint8_t tcal_cmd = 0xFF;
			const char *tcal_name = NULL;

			if (strcmp(arg4, "on") == 0) {
				tcal_cmd = ESB_PONG_FLAG_TCAL_BOOT_ON;
				tcal_name = "T-Cal boot-calibration enable";
			} else if (strcmp(arg4, "off") == 0) {
				tcal_cmd = ESB_PONG_FLAG_TCAL_BOOT_OFF;
				tcal_name = "T-Cal boot-calibration disable";
			} else {
				printk("Invalid tcal boot argument: %s (use 'on' or 'off')\n", arg4);
				return;
			}

			console_send_flag(target_all, tracker_id, tcal_cmd, tcal_name);
		} else {
			printk("Unknown tcal subcommand: %s (use 'on', 'off', 'auto', 'boot' or 'clear')\n", arg3);
		}
		return;
	} else if (strcmp(arg2, "tdma") == 0) {
		if (!arg3) {
			printk("Usage: send <id|all> tdma <on|off>\n");
			printk("Example: send 0 tdma on       - Enable TDMA scheduling on tracker 0\n");
			printk("Example: send all tdma off    - Disable TDMA scheduling on all active trackers\n");
			return;
		}

		if (strcmp(arg3, "on") == 0) {
			console_send_flag(target_all, tracker_id, ESB_PONG_FLAG_TDMA_ON, "TDMA enable");
		} else if (strcmp(arg3, "off") == 0) {
			console_send_flag(target_all, tracker_id, ESB_PONG_FLAG_TDMA_OFF, "TDMA disable");
		} else {
			printk("Unknown tdma subcommand: %s (use 'on' or 'off')\n", arg3);
		}
		return;
	} else if (strcmp(arg2, "test") == 0) {
		if (!arg3) {
			printk("Usage: send <id|all> test <on|off> [tps]\n");
			printk("Example: send 0 test on       - Enable test mode on tracker 0 (default rate)\n");
			printk("Example: send all test on 200 - Enable test mode, target 200 TPS\n");
			printk("  TPS is clamped to the tracker's TDMA slot capacity; 0 = built-in default.\n");
			return;
		}

		if (strcmp(arg3, "on") == 0) {
			/* One test-specific command carries the optional TPS (0 =
			 * built-in default) and the ON flag, so the rate is published
			 * before the tracker sees the flag. */
			uint16_t tps = 0;
			if (arg4 && *arg4) {
				char *endptr;
				long v = strtol(arg4, &endptr, 10);
				if (*endptr != '\0' || v < 0 || v > 1000) {
					printk("Invalid TPS. Must be 0-1000 (0 = default).\n");
					return;
				}
				tps = (uint16_t)v;
			}
			uint8_t st = rcv_cmd_remote_test_on(target_all ? RCV_HID_TARGET_ALL : tracker_id, tps);
			if (st == RCV_HID_ST_OK || st == RCV_HID_ST_STARTED) {
				if (target_all) {
					printk(
						"Test mode enable sent to all active trackers (target %u TPS%s)\n",
						tps,
						tps == 0 ? ", built-in default" : ""
					);
				} else {
					printk(
						"Test mode enable sent to tracker %d (target %u TPS%s)\n",
						tracker_id,
						tps,
						tps == 0 ? ", built-in default" : ""
					);
				}
			} else if (st == RCV_HID_ST_ENOENT) {
				printk("Test mode enable failed: no active trackers\n");
			} else {
				printk("Test mode enable failed: status %u\n", st);
			}
		} else if (strcmp(arg3, "off") == 0) {
			uint8_t st = rcv_cmd_remote_test_off(target_all ? RCV_HID_TARGET_ALL : tracker_id);
			if (st == RCV_HID_ST_OK || st == RCV_HID_ST_STARTED) {
				if (target_all) {
					printk("Test mode disable sent to all active trackers\n");
				} else {
					printk("Test mode disable sent to tracker %d\n", tracker_id);
				}
			} else if (st == RCV_HID_ST_ENOENT) {
				printk("Test mode disable failed: no active trackers\n");
			} else {
				printk("Test mode disable failed: status %u\n", st);
			}
		} else {
			printk("Unknown test subcommand: %s (use 'on [tps]' or 'off')\n", arg3);
		}
		return;
	}

	if (cmd_flag != 0xFF) {
		console_send_flag(target_all, tracker_id, cmd_flag, cmd_name);
	} else {
		printk("Unknown command: %s\n", arg2);
		printk(
			"Available commands: shutdown, calibrate, 6-side, meow, scan, mag, reboot, clear, dfu [ota], "
			"fusion, sens, "
			"reset, ping, tcal, tdma, test\n"
		);
	}
}
```

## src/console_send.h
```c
/*
	SlimeVR Code is placed under the MIT license
	Copyright (c) 2025 SlimeVR Contributors

	Permission is hereby granted, free of charge, to any person obtaining a copy
	of this software and associated documentation files (the "Software"), to deal
	in the Software without restriction, including without limitation the rights
	to use, copy, modify, merge, publish, distribute, sublicense, and/or sell
	copies of the Software, and to permit persons to whom the Software is
	furnished to do so, subject to the following conditions:

	The above copyright notice and this permission notice shall be included in
	all copies or substantial portions of the Software.

	THE SOFTWARE IS PROVIDED "AS IS", WITHOUT WARRANTY OF ANY KIND, EXPRESS OR
	IMPLIED, INCLUDING BUT NOT LIMITED TO THE WARRANTIES OF MERCHANTABILITY,
	FITNESS FOR A PARTICULAR PURPOSE AND NONINFRINGEMENT. IN NO EVENT SHALL THE
	AUTHORS OR COPYRIGHT HOLDERS BE LIABLE FOR ANY CLAIM, DAMAGES OR OTHER
	LIABILITY, WHETHER IN AN ACTION OF CONTRACT, TORT OR OTHERWISE, ARISING FROM,
	OUT OF OR IN CONNECTION WITH THE SOFTWARE OR THE USE OR OTHER DEALINGS IN
	THE SOFTWARE.
*/
#ifndef SLIMENRF_CONSOLE_SEND_H
#define SLIMENRF_CONSOLE_SEND_H

void console_handle_send(char *arg, char *arg2, char *arg3, char *arg4, char *arg5);

#endif
```

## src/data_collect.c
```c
/*
	SlimeVR Code is placed under the MIT license
	Copyright (c) 2025 SlimeVR Contributors

	Permission is hereby granted, free of charge, to any person obtaining a copy
	of this software and associated documentation files (the "Software"), to deal
	in the Software without restriction, including without limitation the rights
	to use, copy, modify, merge, publish, distribute, sublicense, and/or sell
	copies of the Software, and to permit persons to whom the Software is
	furnished to do so, subject to the following conditions:

	The above copyright notice and this permission notice shall be included in
	all copies or substantial portions of the Software.

	THE SOFTWARE IS PROVIDED "AS IS", WITHOUT WARRANTY OF ANY KIND, EXPRESS OR
	IMPLIED, INCLUDING BUT NOT LIMITED TO THE WARRANTIES OF MERCHANTABILITY,
	FITNESS FOR A PARTICULAR PURPOSE AND NONINFRINGEMENT. IN NO EVENT SHALL THE
	AUTHORS OR COPYRIGHT HOLDERS BE LIABLE FOR ANY CLAIM, DAMAGES OR OTHER
	LIABILITY, WHETHER IN AN ACTION OF CONTRACT, TORT OR OTHERWISE, ARISING FROM,
	OUT OF OR IN CONNECTION WITH THE SOFTWARE OR THE USE OR OTHER DEALINGS IN
	THE SOFTWARE.
*/

#include "data_collect.h"
#include "connection/esb.h"
#include "globals.h"

#include <zephyr/kernel.h>
#include <zephyr/device.h>
#include <zephyr/drivers/uart.h>
#include <zephyr/sys/byteorder.h>
#include <zephyr/sys/crc.h>
#include <zephyr/logging/log.h>

LOG_MODULE_REGISTER(data_collect, LOG_LEVEL_INF);

/* Dedicated CDC ACM UART device for data collection (separate from console) */
static const struct device *cdc_dev;
static bool cdc_ready;

/* Ring buffer for CDC output to decouple ISR-context writes from USB.
 * 16 KB holds ~284 frames (57 bytes each) ≈ 716 ms at 400 Hz. */
#define DATA_COLLECT_BUF_SIZE 16384
static uint8_t dc_buf[DATA_COLLECT_BUF_SIZE];
static volatile uint32_t dc_buf_head;
static volatile uint32_t dc_buf_tail;

/* Statistics */
static uint32_t dc_frames_sent;
static uint32_t dc_frames_dropped;

/* Runtime state */
static bool dc_active;
static uint8_t dc_target_tracker_id;
static bool dc_batch_active;
static uint32_t dc_batch_mask;

/* Timeout: auto-stop if no raw data received for this long */
#define DC_TIMEOUT_MS 60000
static int64_t dc_last_rx_time;

static inline uint32_t buf_used(void)
{
	int32_t diff = (int32_t)dc_buf_head - (int32_t)dc_buf_tail;
	if (diff < 0) diff += DATA_COLLECT_BUF_SIZE;
	return (uint32_t)diff;
}

static inline uint32_t buf_free(void)
{
	return DATA_COLLECT_BUF_SIZE - 1 - buf_used();
}

static void buf_put(uint8_t byte)
{
	dc_buf[dc_buf_head] = byte;
	dc_buf_head = (dc_buf_head + 1) % DATA_COLLECT_BUF_SIZE;
}

static bool cdc_host_is_open(void)
{
	uint32_t dtr = 0;

	return cdc_dev != NULL &&
	       uart_line_ctrl_get(cdc_dev, UART_LINE_CTRL_DTR, &dtr) == 0 &&
	       dtr != 0;
}

static void dc_discard_buffer(void)
{
	dc_buf_tail = dc_buf_head;
}

static uint32_t dc_contiguous_len(void)
{
	uint32_t head = dc_buf_head;
	uint32_t tail = dc_buf_tail;

	if (tail == head) {
		return 0;
	}

	if (tail < head) {
		return head - tail;
	}

	return DATA_COLLECT_BUF_SIZE - tail;
}

static void dc_tx_kick_work_handler(struct k_work *work);
static K_WORK_DELAYABLE_DEFINE(dc_tx_kick_work, dc_tx_kick_work_handler);

/* IRQ callbacks and producer kicks may run on different workqueues. Disable
 * first, then recheck: a producer before the disable must not lose its enable.
 * A producer after the recheck schedules its own kick.
 */
static void dc_tx_pause(const struct device *dev)
{
	uart_irq_tx_disable(dev);
	if (dc_buf_tail != dc_buf_head) {
		k_work_schedule(&dc_tx_kick_work, K_MSEC(1));
	}
}

static void dc_uart_irq_callback(const struct device *dev, void *user_data)
{
	ARG_UNUSED(user_data);

	if (dev != cdc_dev) {
		return;
	}

	while (uart_irq_update(dev) && uart_irq_is_pending(dev)) {
		if (!uart_irq_tx_ready(dev)) {
			continue;
		}

		if (!cdc_host_is_open()) {
			dc_discard_buffer();
			dc_tx_pause(dev);
			continue;
		}

		uint32_t len = dc_contiguous_len();
		if (len == 0) {
			dc_tx_pause(dev);
			continue;
		}

		int sent = uart_fifo_fill(dev, &dc_buf[dc_buf_tail], len);
		if (sent <= 0) {
			dc_tx_pause(dev);
			continue;
		}

		dc_buf_tail = (dc_buf_tail + (uint32_t)sent) % DATA_COLLECT_BUF_SIZE;
		if (dc_buf_tail == dc_buf_head) {
			dc_tx_pause(dev);
		}
	}
}

static void dc_tx_kick_work_handler(struct k_work *work)
{
	ARG_UNUSED(work);

	if (!cdc_dev) {
		return;
	}

	if (!cdc_host_is_open()) {
		dc_discard_buffer();
		return;
	}

	if (dc_buf_tail != dc_buf_head) {
		uart_irq_tx_enable(cdc_dev);
		/* The CDC driver normally advances TX from completion/enable/resume.
		 * Keep a bounded fallback only while app bytes remain: FIFO-full can
		 * suppress callbacks, including observation of DTR closing.
		 */
		if (dc_buf_tail != dc_buf_head) {
			k_work_schedule(&dc_tx_kick_work, K_MSEC(1));
		}
	}
}

static void dc_timer_handler(struct k_timer *timer);
static K_TIMER_DEFINE(dc_timer, dc_timer_handler, NULL);

/* Timeout work: stop collection and notify tracker (runs in workqueue context) */
static void dc_timeout_work_handler(struct k_work *work);
static K_WORK_DEFINE(dc_timeout_work, dc_timeout_work_handler);

static void dc_timeout_work_handler(struct k_work *work)
{
	ARG_UNUSED(work);
	if (!dc_active && !dc_batch_active) {
		return;
	}
	if (dc_batch_active) {
		uint32_t mask = dc_batch_mask;
		data_collect_batch_stop();
		for (uint8_t tid = 0; tid < MAX_TRACKERS; tid++) {
			if (mask & BIT(tid)) {
				esb_send_remote_command(tid, ESB_PONG_FLAG_DATA_COLLECT_BATCH_OFF);
			}
		}
		LOG_WRN("Batch data collection timed out (no data for %d s), sent OFF to trackers 0x%08x",
			DC_TIMEOUT_MS / 1000, (unsigned int)mask);
		return;
	}
	uint8_t tid = dc_target_tracker_id;
	data_collect_stop();
	esb_send_remote_command(tid, ESB_PONG_FLAG_DATA_COLLECT_OFF);
	LOG_WRN("Data collection timed out (no data for %d s), sent OFF to tracker %u",
		DC_TIMEOUT_MS / 1000, tid);
}

static void dc_timer_handler(struct k_timer *timer)
{
	ARG_UNUSED(timer);

	/* Check for data collection timeout */
	if ((dc_active || dc_batch_active) && dc_last_rx_time > 0 &&
	    (k_uptime_get() - dc_last_rx_time) > DC_TIMEOUT_MS) {
		k_work_submit(&dc_timeout_work);
	}
}

int data_collect_init(void)
{
	/* Get the dedicated data-collection CDC ACM device */
	cdc_dev = DEVICE_DT_GET(DT_NODELABEL(cdc_acm_uart1));
	if (!device_is_ready(cdc_dev)) {
		LOG_ERR("CDC ACM device not ready");
		return -ENODEV;
	}

	int ret = uart_irq_callback_user_data_set(cdc_dev, dc_uart_irq_callback, NULL);
	if (ret != 0) {
		LOG_ERR("Failed to set CDC ACM IRQ callback: %d", ret);
		return ret;
	}

	cdc_ready = true;
	dc_active = false;
	dc_batch_active = false;
	dc_batch_mask = 0;
	k_timer_start(&dc_timer, K_SECONDS(1), K_SECONDS(1));

	LOG_INF("Data collection subsystem initialized");
	return 0;
}

void data_collect_start(uint8_t tracker_id)
{
	dc_batch_active = false;
	dc_batch_mask = 0;
	dc_target_tracker_id = tracker_id;
	dc_active = true;
	dc_frames_sent = 0;
	dc_frames_dropped = 0;
	dc_last_rx_time = k_uptime_get();
	LOG_INF("Data collection STARTED for tracker %u", tracker_id);
}

void data_collect_stop(void)
{
	dc_active = false;
	LOG_INF("Data collection STOPPED (sent: %u, dropped: %u)",
		dc_frames_sent, dc_frames_dropped);
}

void data_collect_batch_start(uint32_t mask, uint16_t rate_hz)
{
	dc_active = false;
	dc_batch_mask = mask;
	dc_batch_active = mask != 0;
	dc_frames_sent = 0;
	dc_frames_dropped = 0;
	dc_last_rx_time = k_uptime_get();
	LOG_INF("Batch data collection STARTED mask=0x%08x rate=%u Hz",
		(unsigned int)mask, rate_hz);
}

void data_collect_batch_stop(void)
{
	dc_batch_active = false;
	dc_batch_mask = 0;
	LOG_INF("Batch data collection STOPPED (sent: %u, dropped: %u)",
		dc_frames_sent, dc_frames_dropped);
}

bool data_collect_is_active(void)
{
	return dc_active;
}

uint8_t data_collect_get_target_id(void)
{
	return dc_target_tracker_id;
}

bool data_collect_batch_is_active(void)
{
	return dc_batch_active;
}

bool data_collect_batch_is_target(uint8_t tracker_id)
{
	return dc_batch_active && tracker_id < MAX_TRACKERS && (dc_batch_mask & BIT(tracker_id)) != 0;
}

bool data_collect_is_target(uint8_t tracker_id)
{
	return dc_active && tracker_id == dc_target_tracker_id;
}

void data_collect_write(const uint8_t *data, uint8_t len, uint8_t rssi)
{
	if (!cdc_ready) return;

	dc_last_rx_time = k_uptime_get();

	/* Frame: [0xAA][0x55][length][payload...][rssi][rx_ticks(4)][CRC-8]
	 * Total overhead: 2 sync + 1 len + 1 rssi + 4 ticks + 1 crc = 9 bytes */
	uint32_t frame_size = 2 + 1 + len + 1 + 4 + 1;

	if (buf_free() < frame_size) {
		dc_frames_dropped++;
		return;
	}

	uint32_t rx_ticks = (uint32_t)k_uptime_ticks();

	/* Write sync marker */
	buf_put(0xAA);
	buf_put(0x55);

	/* Length byte (payload + rssi + ticks = len + 5) */
	uint8_t frame_len = len + 5;
	buf_put(frame_len);

	/* Payload (raw ESB data) */
	uint8_t crc = 0x07;
	crc = crc8_ccitt(crc, &frame_len, 1);
	for (uint8_t i = 0; i < len; i++) {
		buf_put(data[i]);
	}
	crc = crc8_ccitt(crc, data, len);

	/* RSSI */
	buf_put(rssi);
	crc = crc8_ccitt(crc, &rssi, 1);

	/* Receiver timestamp (big-endian) */
	uint8_t ticks_buf[4];
	sys_put_be32(rx_ticks, ticks_buf);
	for (int i = 0; i < 4; i++) {
		buf_put(ticks_buf[i]);
	}
	crc = crc8_ccitt(crc, ticks_buf, 4);

	/* CRC */
	buf_put(crc);

	dc_frames_sent++;

	k_work_schedule(&dc_tx_kick_work, K_NO_WAIT);
}
```
